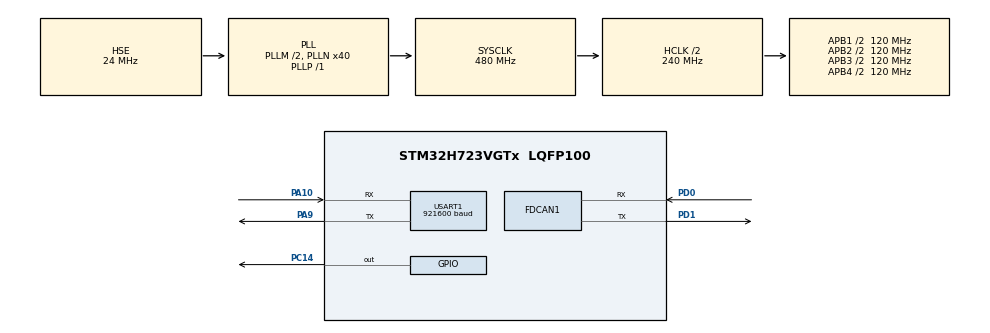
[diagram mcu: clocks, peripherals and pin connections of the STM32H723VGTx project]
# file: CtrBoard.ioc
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CORTEX_M7.CPU_DCache=Disabled
CORTEX_M7.CPU_ICache=Disabled
FDCAN1.AutoRetransmission=ENABLE
FDCAN1.CalculateBaudRateNominal=1000000
FDCAN1.CalculateTimeBitNominal=1000
FDCAN1.CalculateTimeQuantumNominal=12.5
FDCAN1.DataPrescaler=1
FDCAN1.DataSyncJumpWidth=2
FDCAN1.DataTimeSeg1=13
FDCAN1.DataTimeSeg2=2
FDCAN1.ExtFiltersNbr=4
FDCAN1.FrameFormat=FDCAN_FRAME_CLASSIC
FDCAN1.NominalPrescaler=1
FDCAN1.NominalSyncJumpWidth=20
FDCAN1.NominalTimeSeg1=59
FDCAN1.NominalTimeSeg2=20
FDCAN1.ProtocolException=ENABLE
FDCAN1.RxBufferSize=FDCAN_DATA_BYTES_8
FDCAN1.RxBuffersNbr=2
FDCAN1.RxFifo0ElmtSize=FDCAN_DATA_BYTES_8
FDCAN1.RxFifo0ElmtsNbr=8
FDCAN1.RxFifo1ElmtSize=FDCAN_DATA_BYTES_8
FDCAN1.RxFifo1ElmtsNbr=8
FDCAN1.StdFiltersNbr=4
FDCAN1.TxBuffersNbr=8
FDCAN1.TxElmtSize=FDCAN_DATA_BYTES_8
FDCAN1.TxEventsNbr=8
FDCAN1.TxFifoQueueElmtsNbr=8
Mcu.Family=STM32H7
Mcu.Name=STM32H723VGTx
Mcu.Package=LQFP100
NVIC.FDCAN1_IT0_IRQn=true\:0\:0\:false\:false\:true\:true\:true\:true
NVIC.FDCAN1_IT1_IRQn=true\:0\:0\:false\:false\:true\:true\:true\:true
NVIC.FDCAN_CAL_IRQn=true\:0\:0\:false\:false\:true\:true\:true\:true
NVIC.PriorityGroup=NVIC_PRIORITYGROUP_4
NVIC.TIM3_IRQn=true\:0\:0\:false\:false\:true\:true\:true\:true
NVIC.TIM4_IRQn=true\:0\:0\:false\:false\:true\:true\:true\:true
PA10.Mode=Asynchronous
PA10.Signal=USART1_RX
PA13(JTMS/SWDIO).Mode=Serial_Wire
PA13(JTMS/SWDIO).Signal=DEBUG_JTMS-SWDIO
PA14(JTCK/SWCLK).Mode=Serial_Wire
PA14(JTCK/SWCLK).Signal=DEBUG_JTCK-SWCLK
PA9.Mode=Asynchronous
PA9.Signal=USART1_TX
PC14-OSC32_IN.Signal=GPIO_Output
PD0.Mode=FDCAN_Activate
PD0.Signal=FDCAN1_RX
PD1.Mode=FDCAN_Activate
PD1.Signal=FDCAN1_TX
PH0-OSC_IN.Mode=HSE-External-Oscillator
PH0-OSC_IN.Signal=RCC_OSC_IN
PH1-OSC_OUT.Mode=HSE-External-Oscillator
PH1-OSC_OUT.Signal=RCC_OSC_OUT
ProjectManager.HeapSize=0x2000
ProjectManager.StackSize=0x400
ProjectManager.TargetToolchain=MDK-ARM V5.32
RCC.ADCFreq_Value=48375000
RCC.APB1Freq_Value=120000000
RCC.APB2Freq_Value=120000000
RCC.APB3Freq_Value=120000000
RCC.APB4Freq_Value=120000000
RCC.CortexFreq_Value=480000000
RCC.D1PPRE=RCC_APB3_DIV2
RCC.D2PPRE1=RCC_APB1_DIV2
RCC.D2PPRE2=RCC_APB2_DIV2
RCC.D3PPRE=RCC_APB4_DIV2
RCC.DIVM1=2
RCC.DIVN1=40
RCC.DIVP1=1
RCC.DIVQ1=6
RCC.HCLKFreq_Value=240000000
RCC.HPRE=RCC_HCLK_DIV2
RCC.HSE_VALUE=24000000
RCC.PLLFRACN=0
RCC.PLLSourceVirtual=RCC_PLLSOURCE_HSE
RCC.RCC_MCO1Source=RCC_MCO1SOURCE_HSE
RCC.SYSCLKFreq_VALUE=480000000
RCC.SYSCLKSource=RCC_SYSCLKSOURCE_PLLCLK
RCC.USBCLockSelection=RCC_USBCLKSOURCE_HSI48
RCC.USBFreq_Value=48000000
TIM3.Period=1000-1
TIM3.Prescaler=240-1
TIM4.Period=1000-1
TIM4.Prescaler=240-1
USART1.BaudRate=921600
USART1.VirtualMode-Asynchronous=VM_ASYNC
VP_TIM3_VS_ClockSourceINT.Mode=Internal
VP_TIM4_VS_ClockSourceINT.Mode=Internal
board=custom

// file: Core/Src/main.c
/* USER CODE BEGIN Header */
/**
  ******************************************************************************
  * @file           : main.c
  * @brief          : Main program body
  ******************************************************************************
  * @attention
  *
  * Copyright (c) 2024 STMicroelectronics.
  * All rights reserved.
  *
  * This software is licensed under terms that can be found in the LICENSE file
  * in the root directory of this software component.
  * If no LICENSE file comes with this software, it is provided AS-IS.
  *
  ******************************************************************************
  */
/* USER CODE END Header */
#include "main.h"
#include "fdcan.h"
#include "tim.h"
#include "usart.h"
#include "gpio.h"

/* USER CODE BEGIN Includes */
#include "bsp_fdcan.h"
#include "dm_motor_ctrl.h"
#include "delay.h"
/* USER CODE END Includes */

void SystemClock_Config(void);

/* USER CODE BEGIN 0 */
uint8_t data[8] = {1,2,3,4,5,6,7,8};
void HAL_TIM_PeriodElapsedCallback(TIM_HandleTypeDef *htim)
{
  /* USER CODE BEGIN Callback 0 */
	if (htim->Instance == TIM3) {
//
		dm_motor_ctrl_send(&hfdcan1, &motor[Motor1]);
//		read_all_motor_data(&motor[Motor1]);
	}
}
/* USER CODE END 0 */

int main(void)
{

  /* MCU Configuration--------------------------------------------------------*/

  /* Reset of all peripherals, Initializes the Flash interface and the Systick. */
  HAL_Init();

  /* Configure the system clock */
  SystemClock_Config();

  /* Initialize all configured peripherals */
  MX_GPIO_Init();
  MX_FDCAN1_Init();
  MX_TIM3_Init();
  MX_USART1_UART_Init();
  MX_TIM4_Init();
  /* USER CODE BEGIN 2 */
	power(1);		// open board power
	HAL_Delay(500);
	delay_init(480);
	bsp_can_init();
	dm_motor_init();
	HAL_Delay(1);
	write_motor_data(motor[Motor1].id, 10, 1, 0, 0, 0);
	HAL_Delay(1);
	save_motor_data(motor[Motor1].id, 10);
	HAL_Delay(1);
	dm_motor_enable(&hfdcan1, &motor[Motor1]);
	HAL_Delay(1000);
	HAL_TIM_Base_Start_IT(&htim3);
//	read_all_motor_data(&motor[Motor1]);
  /* USER CODE END 2 */

  /* Infinite loop */
  while (1)
  {

  }
}

void SystemClock_Config(void)
{
  RCC_OscInitTypeDef RCC_OscInitStruct = {0};
  RCC_ClkInitTypeDef RCC_ClkInitStruct = {0};

  /** Supply configuration update enable
  */
  HAL_PWREx_ConfigSupply(PWR_LDO_SUPPLY);

  /** Configure the main internal regulator output voltage
  */
  __HAL_PWR_VOLTAGESCALING_CONFIG(PWR_REGULATOR_VOLTAGE_SCALE0);

  while(!__HAL_PWR_GET_FLAG(PWR_FLAG_VOSRDY)) {}

  /** Initializes the RCC Oscillators according to the specified parameters
  * in the RCC_OscInitTypeDef structure.
  */
  RCC_OscInitStruct.OscillatorType = RCC_OSCILLATORTYPE_HSE;
  RCC_OscInitStruct.HSEState = RCC_HSE_ON;
  RCC_OscInitStruct.PLL.PLLState = RCC_PLL_ON;
  RCC_OscInitStruct.PLL.PLLSource = RCC_PLLSOURCE_HSE;
  RCC_OscInitStruct.PLL.PLLM = 2;
  RCC_OscInitStruct.PLL.PLLN = 40;
  RCC_OscInitStruct.PLL.PLLP = 1;
  RCC_OscInitStruct.PLL.PLLQ = 6;
  RCC_OscInitStruct.PLL.PLLR = 2;
  RCC_OscInitStruct.PLL.PLLRGE = RCC_PLL1VCIRANGE_3;
  RCC_OscInitStruct.PLL.PLLVCOSEL = RCC_PLL1VCOWIDE;
  RCC_OscInitStruct.PLL.PLLFRACN = 0;
  if (HAL_RCC_OscConfig(&RCC_OscInitStruct) != HAL_OK)
  {
    Error_Handler();
  }

  /** Initializes the CPU, AHB and APB buses clocks
  */
  RCC_ClkInitStruct.ClockType = RCC_CLOCKTYPE_HCLK|RCC_CLOCKTYPE_SYSCLK
                              |RCC_CLOCKTYPE_PCLK1|RCC_CLOCKTYPE_PCLK2
                              |RCC_CLOCKTYPE_D3PCLK1|RCC_CLOCKTYPE_D1PCLK1;
  RCC_ClkInitStruct.SYSCLKSource = RCC_SYSCLKSOURCE_PLLCLK;
  RCC_ClkInitStruct.SYSCLKDivider = RCC_SYSCLK_DIV1;
  RCC_ClkInitStruct.AHBCLKDivider = RCC_HCLK_DIV2;
  RCC_ClkInitStruct.APB3CLKDivider = RCC_APB3_DIV2;
  RCC_ClkInitStruct.APB1CLKDivider = RCC_APB1_DIV2;
  RCC_ClkInitStruct.APB2CLKDivider = RCC_APB2_DIV2;
  RCC_ClkInitStruct.APB4CLKDivider = RCC_APB4_DIV2;

  if (HAL_RCC_ClockConfig(&RCC_ClkInitStruct, FLASH_LATENCY_3) != HAL_OK)
  {
    Error_Handler();
  }
}

void Error_Handler(void)
{
  __disable_irq();
  while (1)
  {
  }
}
